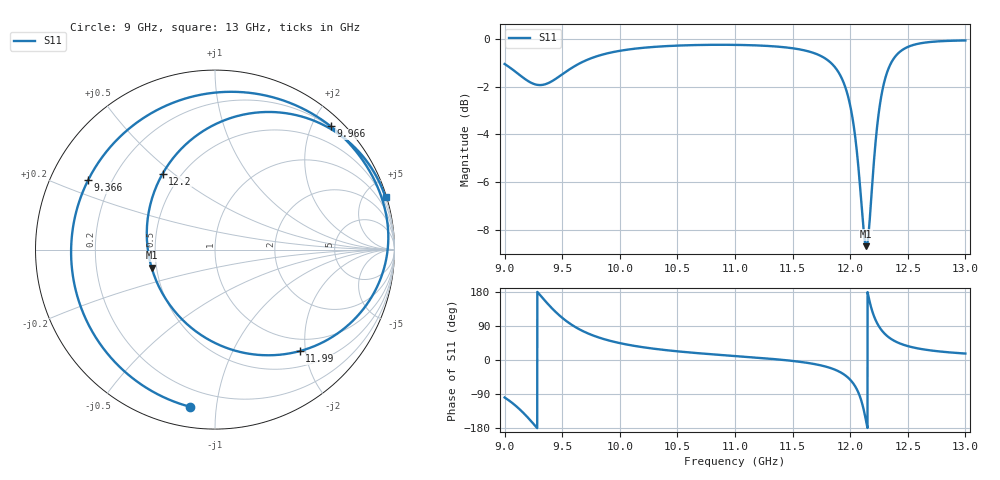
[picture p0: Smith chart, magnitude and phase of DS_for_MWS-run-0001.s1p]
! TOUCHSTONE file generated by CST DESIGN STUDIO
! Date and time: Tue Feb  4 13:41:58 2025
! Project name: C:\Work\MatlabApps\UnitCellOptimizationMatlab\CST\unitcell.cst
! Tree item: Tasks\Sweep1\SPara1\S-Parameters
! Header version: 2024
! Port assignment regex: !\s*Touchstone port\s*([0-9]+)\s*=\s*(CST MWS port|CST DES external port|CST DES block port)\s*(.+)\s* \(\"(.*)\"\)(\s*mode\s*([0-9]+))?.*
! Touchstone port assignment:
! Touchstone port 1 = CST DES external port 1 ("")
# GHz S MA R 50
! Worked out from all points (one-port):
!   4001 points, 9 GHz to 13 GHz, reference 50 ohm
!   lowest |S11| = -8.7 dB at 12.14 GHz (marker M1), VSWR 2.16, Z = 23.5 - j5.47 ohm
!   |S11| at or under -10 dB: nowhere
!   S11 on the Smith chart (normalised r, x): 9 GHz: 0.10, -0.85; 9.366 GHz: 0.11, +0.25; 9.966 GHz: 0.19, +2.29; 11.99 GHz: 0.76, -1.89; 12.2 GHz: 0.40, +0.46; 13 GHz: 0.14, +6.67
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9  0.8869 -98.9
9.112  0.8477 -124.9
9.222  0.8117 -158.7
9.293  0.8011 176.6
9.366  0.8061 151.1
9.5  0.8435 111.4
9.596  0.8741 90.3
9.719  0.9053 70.8
9.966  0.942 46.9
10  0.9452 44.6
10.5  0.9694 22.9
11  0.9728 10.5
11.5  0.957 -2.5
11.828  0.8938 -21.1
11.922  0.8321 -33.5
11.994  0.7365 -50.2
12  0.7253 -52.1
12.076  0.5222 -89.6
12.107  0.4214 -118.5
12.14  0.3673 -164.1
12.167  0.41 156.5
12.196  0.5141 124.6
12.239  0.6727 94.2
12.289  0.8003 72.7
12.38  0.9119 51.0
12.5  0.9631 36.7
12.688  0.9861 25.7
13  0.9938 17.0
